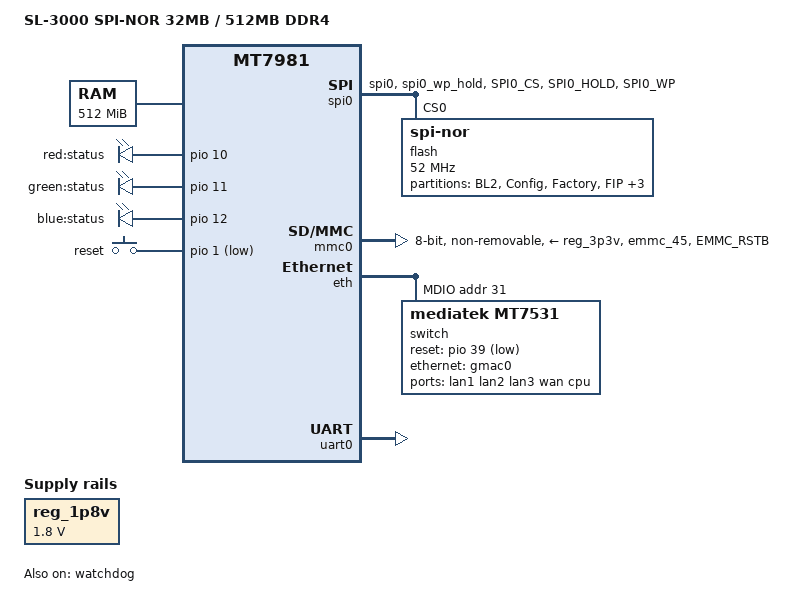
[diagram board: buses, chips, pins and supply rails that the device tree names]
/dts-v1/;
#include "mt7981.dtsi"
#include <dt-bindings/gpio/gpio.h>
#include <dt-bindings/input/input.h>
#include <dt-bindings/leds/common.h>

/ {
	model = "SL-3000 SPI-NOR 32MB / 512MB DDR4";
	compatible = "sl,3000-spi-nor", "sl,3000-emmc", "mediatek,mt7981";

	aliases {
		serial0 = &uart0;
		led-boot = &status_green_led;
		led-failsafe = &status_red_led;
		led-running = &status_green_led;
		led-upgrade = &status_blue_led;
		label-mac-device = &gmac0;
	};

	chosen {
		stdout-path = "serial0:115200n8";
		bootargs = "console=ttyS0,115200n1 loglevel=8 earlycon=uart8250,mmio32,0x11002000 root=PARTLABEL=production rootwait rw rootfstype=f2fs,squashfs,ext4";
	};

	memory@40000000 {
		device_type = "memory";
		reg = <0 0x40000000 0 0x20000000>; /* 512MB DDR4 */
	};

	/* 1.8V 稳压器，用于 eMMC vqmmc-supply */
	reg_1p8v: regulator-1p8v {
		compatible = "regulator-fixed";
		regulator-name = "fixed-1.8V";
		regulator-min-microvolt = <1800000>;
		regulator-max-microvolt = <1800000>;
		regulator-always-on;
		regulator-boot-on;
	};

	leds {
		compatible = "gpio-leds";

		status_red_led: status-red {
			label = "red:status";
			gpios = <&pio 10 GPIO_ACTIVE_HIGH>;
			default-state = "off";
		};

		status_green_led: status-green {
			label = "green:status";
			gpios = <&pio 11 GPIO_ACTIVE_HIGH>;
			linux,default-trigger = "heartbeat";
			default-state = "on";
		};

		status_blue_led: status-blue {
			label = "blue:status";
			gpios = <&pio 12 GPIO_ACTIVE_HIGH>;
			default-state = "off";
		};
	};

	keys {
		compatible = "gpio-keys";
		#address-cells = <1>;
		#size-cells = <0>;

		reset {
			label = "reset";
			linux,code = <KEY_RESTART>;
			gpios = <&pio 1 GPIO_ACTIVE_LOW>; /* 硬件标准低电平触发 */
			debounce-interval = <20>; /* 缩短防抖时间，提高触发灵敏度 */
			linux,input-type = <1>; /* 明确为按键类型，OpenWrt 优先识别 */
			wakeup-source; /* 标记为唤醒源，确保上电时能检测到按键 */
		};
	};
};

/* SPI-NOR 闪存分区布局（适配 32MB Flash） */
&spi0 {
	pinctrl-names = "default";
	pinctrl-0 = <&spi0_flash_pins>;
	status = "okay";

	flash@0 {
		compatible = "jedec,spi-nor";
		reg = <0>;
		spi-max-frequency = <52000000>;

		partitions {
			compatible = "fixed-partitions";
			#address-cells = <1>;
			#size-cells = <1>;

			partition@0 {
				label = "BL2";
				reg = <0x0 0x100000>;
				read-only;
			};

			partition@100000 {
				label = "Config";
				reg = <0x100000 0x80000>;
				read-only;
			};

			partition@180000 {
				label = "Factory";
				reg = <0x180000 0x200000>;
				read-only;
			};

			partition@380000 {
				label = "FIP";
				reg = <0x380000 0x200000>;
				read-only;
			};

			partition@580000 {
				label = "firmware";
				reg = <0x580000 0x1A80000>; /* 0x580000 ~ 0x2000000 */
			};

			partition@1e80000 {
				label = "Product";
				reg = <0x1e80000 0x20000>;
			};

			partition@1ea0000 {
				label = "Custom";
				reg = <0x1ea0000 0x160000>;
			};
		};
	};
};

/* eMMC 链路 */
&mmc0 {
	status = "okay";
	pinctrl-names = "default", "state_uhs";
	pinctrl-0 = <&mmc0_pins_default>;
	pinctrl-1 = <&mmc0_pins_uhs>;
	bus-width = <8>;
	max-frequency = <52000000>;
	cap-mmc-highspeed;
	cap-mmc-hw-reset;
	vmmc-supply = <&reg_3p3v>;
	vqmmc-supply = <&reg_1p8v>;
	non-removable;
	no-sd;
	no-sdio;
};

/* 网络配置 */
&eth {
	status = "okay";

	gmac0: mac@0 {
		compatible = "mediatek,eth-mac";
		reg = <0>;
		phy-mode = "2500base-x";
		fixed-link {
			speed = <2500>;
			full-duplex;
			pause;
		};
	};

	mdio: mdio-bus {
		#address-cells = <1>;
		#size-cells = <0>;

		switch@0 {
			compatible = "mediatek,mt7531";
			reg = <31>;
			reset-gpios = <&pio 39 GPIO_ACTIVE_LOW>;
			reset-delay-us = <10000>;

			ports {
				#address-cells = <1>;
				#size-cells = <0>;

				port@0 { reg = <0>; label = "lan1"; };
				port@1 { reg = <1>; label = "lan2"; };
				port@2 { reg = <2>; label = "lan3"; };
				port@3 { reg = <3>; label = "wan"; };

				port@6 {
					reg = <6>;
					label = "cpu";
					ethernet = <&gmac0>;
					phy-mode = "2500base-x";
					fixed-link {
						speed = <2500>;
						full-duplex;
						pause;
					};
				};
			};
		};
	};
};

&pio {
	spi0_flash_pins: spi0-pins {
		mux {
			function = "spi";
			groups = "spi0", "spi0_wp_hold";
		};
		conf-pu {
			pins = "SPI0_CS", "SPI0_HOLD", "SPI0_WP";
			bias-pull-up;
		};
	};

	mmc0_pins_default: mmc0-pins-default {
		mux {
			function = "flash";
			groups = "emmc_45";
		};
		conf-pu {
			pins = "EMMC_RSTB";
			bias-pull-up;
		};
	};

	mmc0_pins_uhs: mmc0-pins-uhs {
		mux {
			function = "flash";
			groups = "emmc_45";
		};
	};

	/* 额外配置 Reset 键引脚为上拉，确保按键未按下时电平稳定 */
	reset_pin_conf: reset-pin-conf {
		mux {
			function = "gpio";
			groups = "gpio1";
		};
		conf-pu {
			pins = "GPIO1";
			bias-pull-up; /* 未按按键时为高电平，按下为低电平，触发逻辑清晰 */
			drive-strength = <8>; /* 增强驱动能力，避免电平漂移导致检测失败 */
		};
	};
};

/* 启用核心外设 + 加载 Reset 键引脚配置 */
&uart0 { status = "okay"; };
&watchdog { status = "okay"; };
&reg_3p3v { status = "okay"; };
&reg_1p8v { status = "okay"; };
&pio { pinctrl-0 = <&reset_pin_conf>; }; /* 强制加载 Reset 键引脚配置 */
